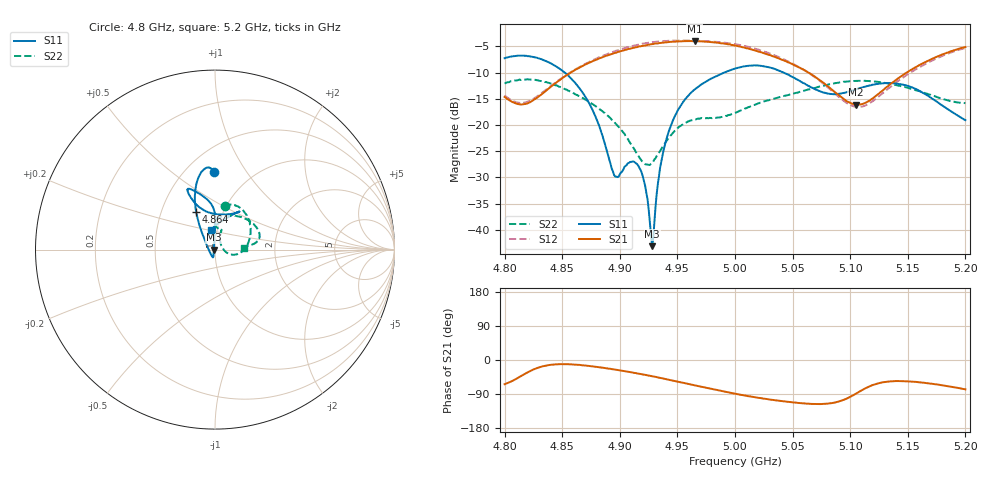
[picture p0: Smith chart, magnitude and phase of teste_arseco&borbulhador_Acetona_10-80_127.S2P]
! Network Analyzer HP8722D
! Hewlett-Packard
! Data name: Linha & Wilkinson
! Saver's name: Rodrigo Anjos
! Comments: Teste da utilização de aquisição
! continua pelo VNA HP8722D
! Time and date: 25/4/2025 16:19
!  Frequency  S11  S21  S12  S22
# HZ  S  MA R 50
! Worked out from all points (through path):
!   401 points, 4.8 GHz to 5.2 GHz, reference 50 ohm
!   highest |S21| = -3.98 dB at 4.965 GHz (marker M1); lowest = -16.1 dB at 5.105 GHz (marker M2)
!   lowest |S11| = -43.1 dB at 4.928 GHz (marker M3), VSWR 1.01, Z = 49.3 - j0.0831 ohm
!   |S11| at or under -10 dB: 4.852 GHz to 4.991 GHz (138.4 MHz wide, 2.81 % of centre); 5.042 GHz to end of sweep
!   |S22| runs from -27.6 to -11.3 dB; largest |S21 - S12| = 1.2
!   S11 on the Smith chart (normalised r, x): 4.8 GHz: 0.68, +0.72; 4.864 GHz: 0.75, +0.33; 5.2 GHz: 0.94, +0.21
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4.8e9  0.4342 90.7  0.1855 -63.9  0.1908 69.6  0.249 77.3
4.82e9  0.4537 97.0  0.1609 -32.6  0.167 98.4  0.2729 61.8
4.864e9  0.2322 116.7  0.3482 -12.7  0.3515 121.1  0.19 12.2
4.867e9  0.2092 118.3  0.3631 -13.8  0.3672 120.8  0.1825 8.5
4.88e9  0.1121 128.6  0.4217 -18.3  0.4315 118.4  0.1486 -5.2
4.896e9  0.0322 -166.1  0.4886 -25.3  0.5071 113.2  0.104 -16.0
4.909e9  0.04437 -108.0  0.5354 -32.0  0.5602 107.8  0.0674 -14.3
4.917e9  0.03893 -103.2  0.5631 -36.4  0.5877 103.5  0.04877 -1.2
4.922e9  0.02627 -107.4  0.5758 -39.0  0.6015 100.8  0.04219 15.7
4.928e9  0.00697 -173.1  0.5915 -42.7  0.6171 97.2  0.04408 39.6
4.93e9  0.01166 123.5  0.5974 -44.1  0.6205 95.9  0.04689 47.7
4.934e9  0.03231 99.8  0.6047 -46.6  0.6271 93.5  0.05438 58.1
4.939e9  0.06353 93.2  0.6147 -49.8  0.6346 90.1  0.06618 65.7
4.946e9  0.1097 89.9  0.6224 -54.4  0.6398 85.8  0.08381 70.2
4.965e9  0.2183 91.1  0.6328 -66.9  0.6358 73.6  0.1134 71.6
5e9  0.3454 109.2  0.5722 -88.8  0.5921 50.9  0.1307 88.3
5.03e9  0.3544 115.1  0.4649 -104.1  0.482 33.8  0.1734 85.4
5.067e9  0.227 105.4  0.3011 -115.8  0.2977 23.6  0.2219 57.3
5.105e9  0.2189 65.4  0.156 -88.8  0.1484 54.2  0.2631 25.6
5.134e9  0.2514 57.3  0.2409 -56.7  0.2264 88.7  0.2483 12.4
5.169e9  0.1856 70.0  0.418 -61.9  0.4022 84.9  0.1947 6.9
5.2e9  0.1113 100.5  0.5545 -77.5  0.5447 70.2  0.1615 3.9
